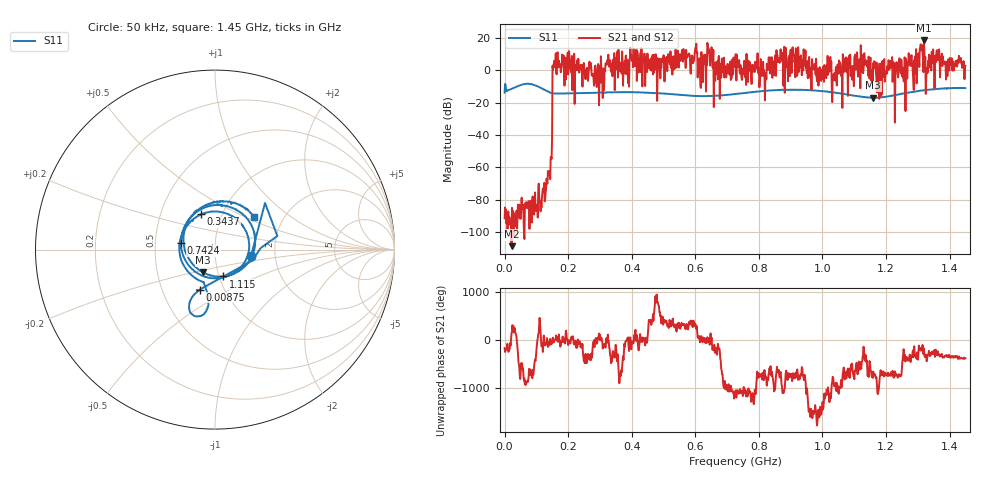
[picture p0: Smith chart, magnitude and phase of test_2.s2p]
! Created with skrf 1.11.0 (http://scikit-rf.org).
# Hz S RI R 50.0
!freq ReS11 ImS11 ReS21 ImS21 ReS12 ImS12 ReS22 ImS22
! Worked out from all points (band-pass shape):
!   1001 points, 50 kHz to 1.45 GHz, reference 50 ohm
!   highest |S21| = 18.56 dB at 1.32 GHz (marker M1); lowest = -108.9 dB at 21.8 MHz (marker M2)
!   |S21| within 3 dB of the highest: 602.6886 MHz to 603.4868 MHz (798.1 kHz wide, 0.132 % of centre); 637.8721 MHz to 639.5151 MHz (1.643 MHz wide, 0.257 % of centre) (the widest 2 of 6)
!   lowest |S11| = -16.9 dB at 1.16 GHz (marker M3), VSWR 1.33, Z = 42.5 - j11 ohm
!   |S11| at or under -10 dB: start of sweep to 1.069 MHz; 3.459 MHz to 38.75 MHz (35.29 MHz wide, 167 % of centre); 105.6 MHz to end of sweep
!   |S22| runs from - to - dB; largest |S21 - S12| = 0
!   S11 on the Smith chart (normalised r, x): 50 kHz: 1.50, -0.11; 8.75 MHz: 0.77, -0.36; 343.7 MHz: 0.80, +0.33; 742.4 MHz: 0.68, +0.05; 1.115 GHz: 1.05, -0.32; 1.45 GHz: 1.43, +0.57
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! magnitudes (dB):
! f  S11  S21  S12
! 50 kHz  -13.8  -91.6  -91.6
! 8.75 MHz  -12.4  -98.3  -98.3
! 21.8 MHz  -11.4  -108.9  -108.9
! 127.6 MHz  -12.2  -79.5  -79.5
! 142.1 MHz  -13.6  -65.1  -65.1
! 153.7 MHz  -14.3  2.9  2.9
! 161 MHz  -14.3  10.6  10.6
! 242.2 MHz  -14.0  3.1  3.1
! 343.7 MHz  -13.5  7.2  7.2
! 484.3 MHz  -14.1  3.8  3.8
! 617.7 MHz  -15.9  -10.8  -10.8
! 645.3 MHz  -15.8  6.3  6.3
! 665.6 MHz  -15.7  5.2  5.2
! 725 MHz  -14.7  6.8  6.8
! 742.4 MHz  -14.3  3.2  3.2
! 912.1 MHz  -11.9  5.1  5.1
! 967.2 MHz  -12.3  7.0  7.0
! 1.115 GHz  -16.1  -3.0  -3.0
! 1.16 GHz  -16.9  4.6  4.6
! 1.209 GHz  -16.0  5.5  5.5
! 1.32 GHz  -12.3  18.6  18.6
! 1.45 GHz  -10.9  2.8  2.8
